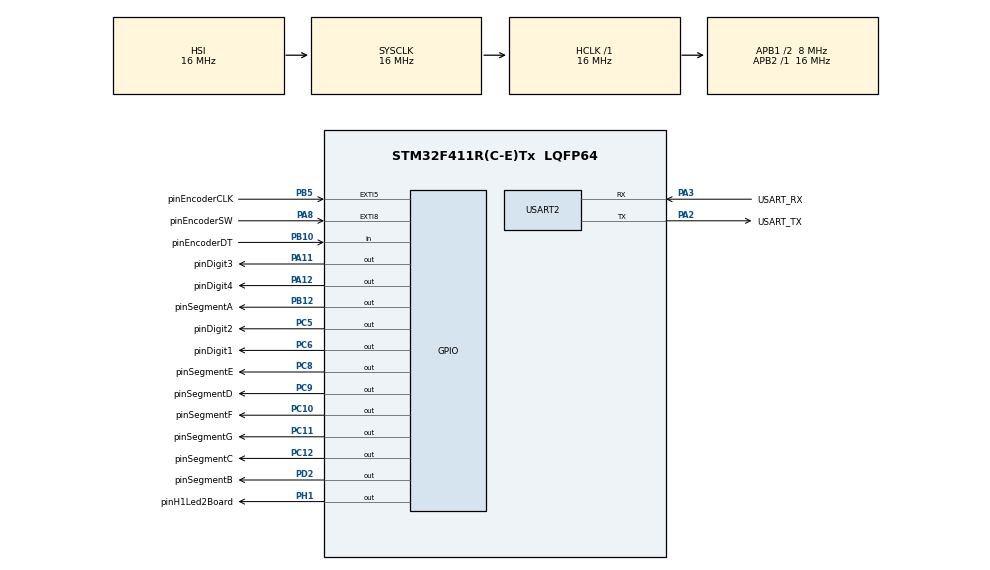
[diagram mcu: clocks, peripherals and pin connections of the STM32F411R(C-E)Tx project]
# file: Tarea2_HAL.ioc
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Mcu.Family=STM32F4
Mcu.Name=STM32F411R(C-E)Tx
Mcu.Package=LQFP64
NVIC.EXTI9_5_IRQn=true\:0\:0\:false\:false\:true\:true\:true\:true
NVIC.PriorityGroup=NVIC_PRIORITYGROUP_0
NVIC.TIM2_IRQn=true\:0\:0\:false\:false\:true\:true\:true\:true
NVIC.TIM3_IRQn=true\:0\:0\:false\:false\:true\:true\:true\:true
PA11.GPIO_Label=pinDigit3
PA11.PinState=GPIO_PIN_SET
PA11.Signal=GPIO_Output
PA12.GPIO_Label=pinDigit4
PA12.PinState=GPIO_PIN_SET
PA12.Signal=GPIO_Output
PA13.GPIO_Label=TMS
PA13.Mode=Serial_Wire
PA13.Signal=SYS_JTMS-SWDIO
PA14.GPIO_Label=TCK
PA14.Mode=Serial_Wire
PA14.Signal=SYS_JTCK-SWCLK
PA2.GPIO_Label=USART_TX
PA2.Mode=Asynchronous
PA2.Signal=USART2_TX
PA3.GPIO_Label=USART_RX
PA3.Mode=Asynchronous
PA3.Signal=USART2_RX
PA8.GPIO_Label=pinEncoderSW
PA8.Signal=GPXTI8
PB10.GPIO_Label=pinEncoderDT
PB10.Signal=GPIO_Input
PB12.GPIO_Label=pinSegmentA
PB12.Signal=GPIO_Output
PB3.GPIO_Label=SWO
PB3.Signal=SYS_JTDO-SWO
PB5.GPIO_Label=pinEncoderCLK
PB5.Signal=GPXTI5
PC10.GPIO_Label=pinSegmentF
PC10.Signal=GPIO_Output
PC11.GPIO_Label=pinSegmentG
PC11.Signal=GPIO_Output
PC12.GPIO_Label=pinSegmentC
PC12.Signal=GPIO_Output
PC14-OSC32_IN.Signal=RCC_OSC32_IN
PC15-OSC32_OUT.Signal=RCC_OSC32_OUT
PC5.GPIO_Label=pinDigit2
PC5.PinState=GPIO_PIN_SET
PC5.Signal=GPIO_Output
PC6.GPIO_Label=pinDigit1
PC6.PinState=GPIO_PIN_SET
PC6.Signal=GPIO_Output
PC8.GPIO_Label=pinSegmentE
PC8.Signal=GPIO_Output
PC9.GPIO_Label=pinSegmentD
PC9.Signal=GPIO_Output
PD2.GPIO_Label=pinSegmentB
PD2.Signal=GPIO_Output
PH0\ -\ OSC_IN.Signal=RCC_OSC_IN
PH1\ -\ OSC_OUT.GPIO_Label=pinH1Led2Board
PH1\ -\ OSC_OUT.Signal=GPIO_Output
ProjectManager.HeapSize=0x200
ProjectManager.StackSize=0x400
ProjectManager.TargetToolchain=STM32CubeIDE
RCC.48MHZClocksFreq_Value=84000000
RCC.AHBFreq_Value=16000000
RCC.APB1CLKDivider=RCC_HCLK_DIV2
RCC.APB1Freq_Value=8000000
RCC.APB1TimFreq_Value=16000000
RCC.APB2Freq_Value=16000000
RCC.APB2TimFreq_Value=16000000
RCC.CortexFreq_Value=16000000
RCC.FLatency-AdvancedSettings=FLASH_LATENCY_0
RCC.HCLKFreq_Value=16000000
RCC.HSE_VALUE=8000000
RCC.HSI_VALUE=16000000
RCC.PLLN=336
RCC.PLLP=RCC_PLLP_DIV4
RCC.SYSCLKFreq_VALUE=16000000
RCC.VCOOutputFreq_Value=336000000
TIM2.Period=502-1
TIM2.Prescaler=16000-1
TIM3.Period=2-1
TIM3.Prescaler=16000-1
USART2.VirtualMode=VM_ASYNC
VP_TIM2_VS_ClockSourceINT.Mode=Internal
VP_TIM3_VS_ClockSourceINT.Mode=Internal
board=NUCLEO-F411RE

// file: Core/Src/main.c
/* USER CODE BEGIN Header */
/**
  ******************************************************************************
  * @file           : main.c
  * @brief          : Main program body
  ******************************************************************************
  * @attention
  *
  * Copyright (c) 2025 STMicroelectronics.
  * All rights reserved.
  *
  * This software is licensed under terms that can be found in the LICENSE file
  * in the root directory of this software component.
  * If no LICENSE file comes with this software, it is provided AS-IS.
  *
  ******************************************************************************
  */
/* USER CODE END Header */
#include "main.h"

/* USER CODE BEGIN Includes */
#include "maquina_estados_hal.h"
#include <stdint.h>
/* USER CODE END Includes */

TIM_HandleTypeDef htim2;
TIM_HandleTypeDef htim3;

UART_HandleTypeDef huart2;

/* USER CODE BEGIN PV */
volatile uint8_t timer2FLAG = 0;
volatile uint8_t display7segmentFLAG = 0;
volatile uint8_t encoderCLKextiFLAG = 0;
volatile uint8_t encoderSWextiFLAG = 0;

uint8_t valorCLK=0;
uint8_t valorDT =0;

uint8_t contadorDigito = 0;
uint16_t contador = 0;
uint8_t miles = 0;
uint8_t centenas = 0;
uint8_t decenas = 0;
uint8_t	unidades = 0;

fsm_states_t stateMachine = {0};
/* USER CODE END PV */

void SystemClock_Config(void);
static void MX_GPIO_Init(void);
static void MX_USART2_UART_Init(void);
static void MX_TIM2_Init(void);
static void MX_TIM3_Init(void);
/* USER CODE BEGIN PFP */
e_PosibleStates state_machine_action(uint8_t event);
void segmentoON(uint8_t number);
void divideNumber(uint16_t contador);
void mostrarUnidades(void);
void mostrarDecenas(void);
void mostrarCentenas(void);
void mostrarMiles(void);
void update7SegmentDisplay(void);
void InitProgram(void);

/* USER CODE END PFP */

int main(void)
{

  /* MCU Configuration--------------------------------------------------------*/

  /* Reset of all peripherals, Initializes the Flash interface and the Systick. */
  HAL_Init();

  /* USER CODE BEGIN Init */
  InitProgram();
  /* USER CODE END Init */

  /* Configure the system clock */
  SystemClock_Config();

  /* Initialize all configured peripherals */
  MX_GPIO_Init();
  MX_USART2_UART_Init();
  MX_TIM2_Init();
  MX_TIM3_Init();
  HAL_TIM_Base_Start_IT(&htim2);
  HAL_TIM_Base_Start(&htim3);

  /* Infinite loop */
  /* USER CODE BEGIN WHILE */
  while (1)
  {
	  stateMachine.state=IDLE;
	  state_machine_action(0);
    /* USER CODE END WHILE */

  }
}

void SystemClock_Config(void)
{
  RCC_OscInitTypeDef RCC_OscInitStruct = {0};
  RCC_ClkInitTypeDef RCC_ClkInitStruct = {0};

  /** Configure the main internal regulator output voltage
  */
  __HAL_RCC_PWR_CLK_ENABLE();
  __HAL_PWR_VOLTAGESCALING_CONFIG(PWR_REGULATOR_VOLTAGE_SCALE1);

  /** Initializes the RCC Oscillators according to the specified parameters
  * in the RCC_OscInitTypeDef structure.
  */
  RCC_OscInitStruct.OscillatorType = RCC_OSCILLATORTYPE_HSI;
  RCC_OscInitStruct.HSIState = RCC_HSI_ON;
  RCC_OscInitStruct.HSICalibrationValue = RCC_HSICALIBRATION_DEFAULT;
  RCC_OscInitStruct.PLL.PLLState = RCC_PLL_NONE;
  if (HAL_RCC_OscConfig(&RCC_OscInitStruct) != HAL_OK)
  {
    Error_Handler();
  }

  /** Initializes the CPU, AHB and APB buses clocks
  */
  RCC_ClkInitStruct.ClockType = RCC_CLOCKTYPE_HCLK|RCC_CLOCKTYPE_SYSCLK
                              |RCC_CLOCKTYPE_PCLK1|RCC_CLOCKTYPE_PCLK2;
  RCC_ClkInitStruct.SYSCLKSource = RCC_SYSCLKSOURCE_HSI;
  RCC_ClkInitStruct.AHBCLKDivider = RCC_SYSCLK_DIV1;
  RCC_ClkInitStruct.APB1CLKDivider = RCC_HCLK_DIV2;
  RCC_ClkInitStruct.APB2CLKDivider = RCC_HCLK_DIV1;

  if (HAL_RCC_ClockConfig(&RCC_ClkInitStruct, FLASH_LATENCY_0) != HAL_OK)
  {
    Error_Handler();
  }
}

static void MX_TIM2_Init(void)
{

  TIM_ClockConfigTypeDef sClockSourceConfig = {0};
  TIM_MasterConfigTypeDef sMasterConfig = {0};

  htim2.Instance = TIM2;
  htim2.Init.Prescaler = 16000-1;
  htim2.Init.CounterMode = TIM_COUNTERMODE_UP;
  htim2.Init.Period = 502-1;
  htim2.Init.ClockDivision = TIM_CLOCKDIVISION_DIV1;
  htim2.Init.AutoReloadPreload = TIM_AUTORELOAD_PRELOAD_DISABLE;
  if (HAL_TIM_Base_Init(&htim2) != HAL_OK)
  {
    Error_Handler();
  }
  sClockSourceConfig.ClockSource = TIM_CLOCKSOURCE_INTERNAL;
  if (HAL_TIM_ConfigClockSource(&htim2, &sClockSourceConfig) != HAL_OK)
  {
    Error_Handler();
  }
  sMasterConfig.MasterOutputTrigger = TIM_TRGO_RESET;
  sMasterConfig.MasterSlaveMode = TIM_MASTERSLAVEMODE_DISABLE;
  if (HAL_TIMEx_MasterConfigSynchronization(&htim2, &sMasterConfig) != HAL_OK)
  {
    Error_Handler();
  }

}

static void MX_TIM3_Init(void)
{

  TIM_ClockConfigTypeDef sClockSourceConfig = {0};
  TIM_MasterConfigTypeDef sMasterConfig = {0};

  htim3.Instance = TIM3;
  htim3.Init.Prescaler = 16000-1;
  htim3.Init.CounterMode = TIM_COUNTERMODE_UP;
  htim3.Init.Period = 2-1;
  htim3.Init.ClockDivision = TIM_CLOCKDIVISION_DIV1;
  htim3.Init.AutoReloadPreload = TIM_AUTORELOAD_PRELOAD_DISABLE;
  if (HAL_TIM_Base_Init(&htim3) != HAL_OK)
  {
    Error_Handler();
  }
  sClockSourceConfig.ClockSource = TIM_CLOCKSOURCE_INTERNAL;
  if (HAL_TIM_ConfigClockSource(&htim3, &sClockSourceConfig) != HAL_OK)
  {
    Error_Handler();
  }
  sMasterConfig.MasterOutputTrigger = TIM_TRGO_RESET;
  sMasterConfig.MasterSlaveMode = TIM_MASTERSLAVEMODE_DISABLE;
  if (HAL_TIMEx_MasterConfigSynchronization(&htim3, &sMasterConfig) != HAL_OK)
  {
    Error_Handler();
  }

}

static void MX_USART2_UART_Init(void)
{

  huart2.Instance = USART2;
  huart2.Init.BaudRate = 115200;
  huart2.Init.WordLength = UART_WORDLENGTH_8B;
  huart2.Init.StopBits = UART_STOPBITS_1;
  huart2.Init.Parity = UART_PARITY_NONE;
  huart2.Init.Mode = UART_MODE_TX_RX;
  huart2.Init.HwFlowCtl = UART_HWCONTROL_NONE;
  huart2.Init.OverSampling = UART_OVERSAMPLING_16;
  if (HAL_UART_Init(&huart2) != HAL_OK)
  {
    Error_Handler();
  }

}

static void MX_GPIO_Init(void)
{
  GPIO_InitTypeDef GPIO_InitStruct = {0};

  /* GPIO Ports Clock Enable */
  __HAL_RCC_GPIOC_CLK_ENABLE();
  __HAL_RCC_GPIOH_CLK_ENABLE();
  __HAL_RCC_GPIOA_CLK_ENABLE();
  __HAL_RCC_GPIOB_CLK_ENABLE();
  __HAL_RCC_GPIOD_CLK_ENABLE();

  /*Configure GPIO pin Output Level */
  HAL_GPIO_WritePin(pinH1Led2Board_GPIO_Port, pinH1Led2Board_Pin, GPIO_PIN_RESET);

  /*Configure GPIO pin Output Level */
  HAL_GPIO_WritePin(GPIOC, pinDigit2_Pin|pinDigit1_Pin, GPIO_PIN_SET);

  /*Configure GPIO pin Output Level */
  HAL_GPIO_WritePin(pinSegmentA_GPIO_Port, pinSegmentA_Pin, GPIO_PIN_RESET);

  /*Configure GPIO pin Output Level */
  HAL_GPIO_WritePin(GPIOC, pinSegmentE_Pin|pinSegmentD_Pin|pinSegmentF_Pin|pinSegmentG_Pin
                          |pinSegmentC_Pin, GPIO_PIN_RESET);

  /*Configure GPIO pin Output Level */
  HAL_GPIO_WritePin(GPIOA, pinDigit3_Pin|pinDigit4_Pin, GPIO_PIN_SET);

  /*Configure GPIO pin Output Level */
  HAL_GPIO_WritePin(pinSegmentB_GPIO_Port, pinSegmentB_Pin, GPIO_PIN_RESET);

  /*Configure GPIO pin : pinH1Led2Board_Pin */
  GPIO_InitStruct.Pin = pinH1Led2Board_Pin;
  GPIO_InitStruct.Mode = GPIO_MODE_OUTPUT_PP;
  GPIO_InitStruct.Pull = GPIO_NOPULL;
  GPIO_InitStruct.Speed = GPIO_SPEED_FREQ_LOW;
  HAL_GPIO_Init(pinH1Led2Board_GPIO_Port, &GPIO_InitStruct);

  /*Configure GPIO pins : pinDigit2_Pin pinDigit1_Pin pinSegmentE_Pin pinSegmentD_Pin
                           pinSegmentF_Pin pinSegmentG_Pin pinSegmentC_Pin */
  GPIO_InitStruct.Pin = pinDigit2_Pin|pinDigit1_Pin|pinSegmentE_Pin|pinSegmentD_Pin
                          |pinSegmentF_Pin|pinSegmentG_Pin|pinSegmentC_Pin;
  GPIO_InitStruct.Mode = GPIO_MODE_OUTPUT_PP;
  GPIO_InitStruct.Pull = GPIO_NOPULL;
  GPIO_InitStruct.Speed = GPIO_SPEED_FREQ_LOW;
  HAL_GPIO_Init(GPIOC, &GPIO_InitStruct);

  /*Configure GPIO pin : pinEncoderDT_Pin */
  GPIO_InitStruct.Pin = pinEncoderDT_Pin;
  GPIO_InitStruct.Mode = GPIO_MODE_INPUT;
  GPIO_InitStruct.Pull = GPIO_NOPULL;
  HAL_GPIO_Init(pinEncoderDT_GPIO_Port, &GPIO_InitStruct);

  /*Configure GPIO pin : pinSegmentA_Pin */
  GPIO_InitStruct.Pin = pinSegmentA_Pin;
  GPIO_InitStruct.Mode = GPIO_MODE_OUTPUT_PP;
  GPIO_InitStruct.Pull = GPIO_NOPULL;
  GPIO_InitStruct.Speed = GPIO_SPEED_FREQ_LOW;
  HAL_GPIO_Init(pinSegmentA_GPIO_Port, &GPIO_InitStruct);

  /*Configure GPIO pin : pinEncoderSW_Pin */
  GPIO_InitStruct.Pin = pinEncoderSW_Pin;
  GPIO_InitStruct.Mode = GPIO_MODE_IT_RISING;
  GPIO_InitStruct.Pull = GPIO_NOPULL;
  HAL_GPIO_Init(pinEncoderSW_GPIO_Port, &GPIO_InitStruct);

  /*Configure GPIO pins : pinDigit3_Pin pinDigit4_Pin */
  GPIO_InitStruct.Pin = pinDigit3_Pin|pinDigit4_Pin;
  GPIO_InitStruct.Mode = GPIO_MODE_OUTPUT_PP;
  GPIO_InitStruct.Pull = GPIO_NOPULL;
  GPIO_InitStruct.Speed = GPIO_SPEED_FREQ_LOW;
  HAL_GPIO_Init(GPIOA, &GPIO_InitStruct);

  /*Configure GPIO pin : pinSegmentB_Pin */
  GPIO_InitStruct.Pin = pinSegmentB_Pin;
  GPIO_InitStruct.Mode = GPIO_MODE_OUTPUT_PP;
  GPIO_InitStruct.Pull = GPIO_NOPULL;
  GPIO_InitStruct.Speed = GPIO_SPEED_FREQ_LOW;
  HAL_GPIO_Init(pinSegmentB_GPIO_Port, &GPIO_InitStruct);

  /*Configure GPIO pin : pinEncoderCLK_Pin */
  GPIO_InitStruct.Pin = pinEncoderCLK_Pin;
  GPIO_InitStruct.Mode = GPIO_MODE_IT_RISING;
  GPIO_InitStruct.Pull = GPIO_NOPULL;
  HAL_GPIO_Init(pinEncoderCLK_GPIO_Port, &GPIO_InitStruct);

  /* EXTI interrupt init*/
  HAL_NVIC_SetPriority(EXTI9_5_IRQn, 0, 0);
  HAL_NVIC_EnableIRQ(EXTI9_5_IRQn);

}

/* USER CODE BEGIN 4 */
//Funcion para inicar la FSM en el estado base. El main.c con drivers propios no lo tiene
void InitProgram(void)
{
	stateMachine.state=IDLE;
}

// maquina de estados
e_PosibleStates state_machine_action(uint8_t event)
{
	switch (stateMachine.state){
	case IDLE:
	{
		if(display7segmentFLAG)
		{
			update7SegmentDisplay();
			display7segmentFLAG = 0;
		}

		if(timer2FLAG)
		{
			HAL_GPIO_TogglePin(pinH1Led2Board_GPIO_Port, pinH1Led2Board_Pin);
			timer2FLAG = 0;
		}
		if(encoderCLKextiFLAG)
		{
			stateMachine.state = ROTACION;
			state_machine_action(0);
			encoderCLKextiFLAG = 0;
		}
		if(encoderSWextiFLAG)
		{
			stateMachine.state = BOTON_SW;
			state_machine_action(0);
			encoderSWextiFLAG = 0;
		}
	}
	return stateMachine.state;

	case ROTACION:
	{
		stateMachine.state=IDLE;
		if(valorCLK != valorDT)
		{
			if(contador == 4095)
			{
				contador = 0;
			}
			else
			{
				contador++;

			}
		}
		else
		{
			if(contador == 0)
				{
					contador = 4095;
				}
			else
				{
				contador--;
				}
		}
	}
	return stateMachine.state;

	case BOTON_SW:
	{
		stateMachine.state=IDLE;
		contador = 0;
	}
	return stateMachine.state;

	default:
		{
		stateMachine.state = IDLE;
		return stateMachine.state;
		}

	}
}

// %%%%%%%%% FUNCIONES PRIVADAS USER %%%%%%%%%%%%

void divideNumber(uint16_t contador)
{
	if(contador ==4096)
	{
		contador = 0;
	}
	miles = contador/1000;
	centenas = contador/100 %10;
	decenas = contador/10 %10;
	unidades = contador%10;
}

void segmentoON(uint8_t number)
{
	switch(number)
	{

		case 0:
			HAL_GPIO_WritePin(pinSegmentA_GPIO_Port, pinSegmentA_Pin, SET);
			HAL_GPIO_WritePin(pinSegmentA_GPIO_Port, pinSegmentA_Pin, SET);
			HAL_GPIO_WritePin(pinSegmentB_GPIO_Port, pinSegmentB_Pin, SET);
			HAL_GPIO_WritePin(pinSegmentC_GPIO_Port, pinSegmentC_Pin, SET);
			HAL_GPIO_WritePin(pinSegmentD_GPIO_Port, pinSegmentD_Pin, SET);
			HAL_GPIO_WritePin(pinSegmentE_GPIO_Port, pinSegmentE_Pin, SET);
			HAL_GPIO_WritePin(pinSegmentF_GPIO_Port, pinSegmentF_Pin, SET);
			HAL_GPIO_WritePin(pinSegmentG_GPIO_Port, pinSegmentG_Pin, RESET);
		break;

		case 1:
			HAL_GPIO_WritePin(pinSegmentA_GPIO_Port, pinSegmentA_Pin, RESET);
			HAL_GPIO_WritePin(pinSegmentB_GPIO_Port, pinSegmentB_Pin, SET);
			HAL_GPIO_WritePin(pinSegmentC_GPIO_Port, pinSegmentC_Pin, SET);
			HAL_GPIO_WritePin(pinSegmentD_GPIO_Port, pinSegmentD_Pin, RESET);
			HAL_GPIO_WritePin(pinSegmentE_GPIO_Port, pinSegmentE_Pin, RESET);
			HAL_GPIO_WritePin(pinSegmentF_GPIO_Port, pinSegmentF_Pin, RESET);
			HAL_GPIO_WritePin(pinSegmentG_GPIO_Port, pinSegmentG_Pin, RESET);
		break;

		case 2:
			HAL_GPIO_WritePin(pinSegmentA_GPIO_Port, pinSegmentA_Pin, SET);
			HAL_GPIO_WritePin(pinSegmentB_GPIO_Port, pinSegmentB_Pin, SET);
			HAL_GPIO_WritePin(pinSegmentC_GPIO_Port, pinSegmentC_Pin, RESET);
			HAL_GPIO_WritePin(pinSegmentD_GPIO_Port, pinSegmentD_Pin, SET);
			HAL_GPIO_WritePin(pinSegmentE_GPIO_Port, pinSegmentE_Pin, SET);
			HAL_GPIO_WritePin(pinSegmentF_GPIO_Port, pinSegmentF_Pin, RESET);
			HAL_GPIO_WritePin(pinSegmentG_GPIO_Port, pinSegmentG_Pin, SET);
		break;

		case 3:
			HAL_GPIO_WritePin(pinSegmentA_GPIO_Port, pinSegmentA_Pin, SET);
			HAL_GPIO_WritePin(pinSegmentB_GPIO_Port, pinSegmentB_Pin, SET);
			HAL_GPIO_WritePin(pinSegmentC_GPIO_Port, pinSegmentC_Pin, SET);
			HAL_GPIO_WritePin(pinSegmentD_GPIO_Port, pinSegmentD_Pin, SET);
			HAL_GPIO_WritePin(pinSegmentE_GPIO_Port, pinSegmentE_Pin, RESET);
			HAL_GPIO_WritePin(pinSegmentF_GPIO_Port, pinSegmentF_Pin, RESET);
			HAL_GPIO_WritePin(pinSegmentG_GPIO_Port, pinSegmentG_Pin, SET);
		break;

		case 4:
			HAL_GPIO_WritePin(pinSegmentA_GPIO_Port, pinSegmentA_Pin, RESET);
			HAL_GPIO_WritePin(pinSegmentB_GPIO_Port, pinSegmentB_Pin, SET);
			HAL_GPIO_WritePin(pinSegmentC_GPIO_Port, pinSegmentC_Pin, SET);
			HAL_GPIO_WritePin(pinSegmentD_GPIO_Port, pinSegmentD_Pin, RESET);
			HAL_GPIO_WritePin(pinSegmentE_GPIO_Port, pinSegmentE_Pin, RESET);
			HAL_GPIO_WritePin(pinSegmentF_GPIO_Port, pinSegmentF_Pin, SET);
			HAL_GPIO_WritePin(pinSegmentG_GPIO_Port, pinSegmentG_Pin, SET);
		break;

		case 5:
			HAL_GPIO_WritePin(pinSegmentA_GPIO_Port, pinSegmentA_Pin, SET);
			HAL_GPIO_WritePin(pinSegmentB_GPIO_Port, pinSegmentB_Pin, RESET);
			HAL_GPIO_WritePin(pinSegmentC_GPIO_Port, pinSegmentC_Pin, SET);
			HAL_GPIO_WritePin(pinSegmentD_GPIO_Port, pinSegmentD_Pin, SET);
			HAL_GPIO_WritePin(pinSegmentE_GPIO_Port, pinSegmentE_Pin, RESET);
			HAL_GPIO_WritePin(pinSegmentF_GPIO_Port, pinSegmentF_Pin, SET);
			HAL_GPIO_WritePin(pinSegmentG_GPIO_Port, pinSegmentG_Pin, SET);
		break;

		case 6:
			HAL_GPIO_WritePin(pinSegmentA_GPIO_Port, pinSegmentA_Pin, SET);
			HAL_GPIO_WritePin(pinSegmentB_GPIO_Port, pinSegmentB_Pin, RESET);
			HAL_GPIO_WritePin(pinSegmentC_GPIO_Port, pinSegmentC_Pin, SET);
			HAL_GPIO_WritePin(pinSegmentD_GPIO_Port, pinSegmentD_Pin, SET);
			HAL_GPIO_WritePin(pinSegmentE_GPIO_Port, pinSegmentE_Pin, SET);
			HAL_GPIO_WritePin(pinSegmentF_GPIO_Port, pinSegmentF_Pin, SET);
			HAL_GPIO_WritePin(pinSegmentG_GPIO_Port, pinSegmentG_Pin, SET);
		break;

		case 7:
			HAL_GPIO_WritePin(pinSegmentA_GPIO_Port, pinSegmentA_Pin, SET);
			HAL_GPIO_WritePin(pinSegmentB_GPIO_Port, pinSegmentB_Pin, SET);
			HAL_GPIO_WritePin(pinSegmentC_GPIO_Port, pinSegmentC_Pin, SET);
			HAL_GPIO_WritePin(pinSegmentD_GPIO_Port, pinSegmentD_Pin, RESET);
			HAL_GPIO_WritePin(pinSegmentE_GPIO_Port, pinSegmentE_Pin, RESET);
			HAL_GPIO_WritePin(pinSegmentF_GPIO_Port, pinSegmentF_Pin, RESET);
			HAL_GPIO_WritePin(pinSegmentG_GPIO_Port, pinSegmentG_Pin, RESET);
		break;

		case 8:
			HAL_GPIO_WritePin(pinSegmentA_GPIO_Port, pinSegmentA_Pin, SET);
			HAL_GPIO_WritePin(pinSegmentB_GPIO_Port, pinSegmentB_Pin, SET);
			HAL_GPIO_WritePin(pinSegmentC_GPIO_Port, pinSegmentC_Pin, SET);
			HAL_GPIO_WritePin(pinSegmentD_GPIO_Port, pinSegmentD_Pin, SET);
			HAL_GPIO_WritePin(pinSegmentE_GPIO_Port, pinSegmentE_Pin, SET);
			HAL_GPIO_WritePin(pinSegmentF_GPIO_Port, pinSegmentF_Pin, SET);
			HAL_GPIO_WritePin(pinSegmentG_GPIO_Port, pinSegmentG_Pin, SET);
		break;

		case 9:
			HAL_GPIO_WritePin(pinSegmentA_GPIO_Port, pinSegmentA_Pin, SET);
			HAL_GPIO_WritePin(pinSegmentB_GPIO_Port, pinSegmentB_Pin, SET);
			HAL_GPIO_WritePin(pinSegmentC_GPIO_Port, pinSegmentC_Pin, SET);
			HAL_GPIO_WritePin(pinSegmentD_GPIO_Port, pinSegmentD_Pin, SET);
			HAL_GPIO_WritePin(pinSegmentE_GPIO_Port, pinSegmentE_Pin, RESET);
			HAL_GPIO_WritePin(pinSegmentF_GPIO_Port, pinSegmentF_Pin, SET);
			HAL_GPIO_WritePin(pinSegmentG_GPIO_Port, pinSegmentG_Pin, SET);
		break;

		default:
		{
			break;
		}
	}
}

void mostrarUnidades(void)
{
	HAL_GPIO_WritePin(pinDigit1_GPIO_Port,pinDigit1_Pin, SET);
	HAL_GPIO_WritePin(pinDigit1_GPIO_Port,pinDigit1_Pin,SET);
	HAL_GPIO_WritePin(pinDigit2_GPIO_Port,pinDigit2_Pin,SET);
	HAL_GPIO_WritePin(pinDigit3_GPIO_Port,pinDigit3_Pin,SET);
	segmentoON(unidades);
	HAL_GPIO_WritePin(pinDigit4_GPIO_Port,pinDigit4_Pin,RESET);
}

void mostrarDecenas(void)
{
	HAL_GPIO_WritePin(pinDigit1_GPIO_Port,pinDigit1_Pin,SET);
	HAL_GPIO_WritePin(pinDigit2_GPIO_Port,pinDigit2_Pin,SET);
	HAL_GPIO_WritePin(pinDigit4_GPIO_Port,pinDigit4_Pin,SET);
	segmentoON(decenas);
	HAL_GPIO_WritePin(pinDigit3_GPIO_Port,pinDigit3_Pin,RESET);
}

void mostrarCentenas(void)
{
	HAL_GPIO_WritePin(pinDigit1_GPIO_Port,pinDigit1_Pin,SET);
	HAL_GPIO_WritePin(pinDigit4_GPIO_Port,pinDigit4_Pin,SET);
	HAL_GPIO_WritePin(pinDigit3_GPIO_Port,pinDigit3_Pin,SET);
	segmentoON(centenas);
	HAL_GPIO_WritePin(pinDigit2_GPIO_Port,pinDigit2_Pin,RESET);
}

void mostrarMiles(void)
{
	HAL_GPIO_WritePin(pinDigit4_GPIO_Port,pinDigit4_Pin,SET);
	HAL_GPIO_WritePin(pinDigit2_GPIO_Port,pinDigit2_Pin,SET);
	HAL_GPIO_WritePin(pinDigit3_GPIO_Port,pinDigit3_Pin,SET);
	segmentoON(miles);
	HAL_GPIO_WritePin(pinDigit1_GPIO_Port,pinDigit1_Pin,RESET);
}

void update7SegmentDisplay(void)
{
	divideNumber(contador);
	if(contadorDigito == 4)
	{
		contadorDigito = 0;
	}
	switch(contadorDigito)
	{
		case 0:
			mostrarUnidades();
		break;
		case 1:
			mostrarDecenas();
		break;
		case 2:
			mostrarCentenas();
		break;
		case 3:
			mostrarMiles();
		break;
	}
	contadorDigito++;
}

// %%%%%%% TIMER - EXTI %%%%%%%%%%%
//Timers
void HAL_TIM_PeriodElapsedCallback(TIM_HandleTypeDef *htim)
{
	if(htim->Instance == TIM2)
	{
		timer2FLAG = 1;
	}
	else if(htim->Instance == TIM4)
	{
		display7segmentFLAG=1;
	}
}

//EXTI
void HAL_GPIO_EXTI_Callback(uint16_t GPIO_Pin)
{
	if(GPIO_Pin == pinEncoderCLK_Pin)
	{
		valorCLK = HAL_GPIO_ReadPin(pinEncoderCLK_GPIO_Port, pinEncoderCLK_Pin);
		valorDT = HAL_GPIO_ReadPin(pinEncoderDT_GPIO_Port, pinEncoderDT_Pin);
		encoderCLKextiFLAG = 1;
	}
	else if(GPIO_Pin == pinEncoderSW_Pin)
	{
		encoderSWextiFLAG = 1;
	}
}
/* USER CODE END 4 */

void Error_Handler(void)
{
  __disable_irq();
  while (1)
  {
  }
}
